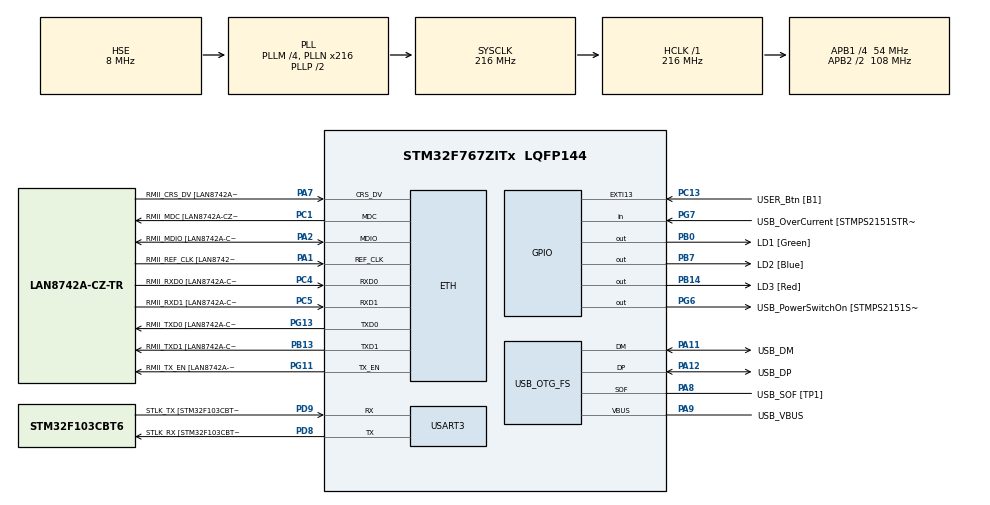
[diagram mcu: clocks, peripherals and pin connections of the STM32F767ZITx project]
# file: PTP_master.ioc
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Dma.Request0=USART3_RX
Dma.Request1=USART3_TX
Dma.USART3_RX.0.Direction=DMA_PERIPH_TO_MEMORY
Dma.USART3_RX.0.FIFOMode=DMA_FIFOMODE_DISABLE
Dma.USART3_RX.0.Instance=DMA1_Stream1
Dma.USART3_RX.0.MemDataAlignment=DMA_MDATAALIGN_BYTE
Dma.USART3_RX.0.MemInc=DMA_MINC_ENABLE
Dma.USART3_RX.0.Mode=DMA_NORMAL
Dma.USART3_RX.0.PeriphDataAlignment=DMA_PDATAALIGN_BYTE
Dma.USART3_RX.0.PeriphInc=DMA_PINC_DISABLE
Dma.USART3_RX.0.Priority=DMA_PRIORITY_LOW
Dma.USART3_TX.1.Direction=DMA_MEMORY_TO_PERIPH
Dma.USART3_TX.1.FIFOMode=DMA_FIFOMODE_DISABLE
Dma.USART3_TX.1.Instance=DMA1_Stream3
Dma.USART3_TX.1.MemDataAlignment=DMA_MDATAALIGN_BYTE
Dma.USART3_TX.1.MemInc=DMA_MINC_ENABLE
Dma.USART3_TX.1.Mode=DMA_NORMAL
Dma.USART3_TX.1.PeriphDataAlignment=DMA_PDATAALIGN_BYTE
Dma.USART3_TX.1.PeriphInc=DMA_PINC_DISABLE
Dma.USART3_TX.1.Priority=DMA_PRIORITY_LOW
ETH.ETH_TX_DESC_CNT=8
ETH.MACAddr=00\:80\:E1\:00\:00\:01
ETH.MediaInterface=HAL_ETH_RMII_MODE
ETH.RxMode=ETH_RXINTERRUPT_MODE
Mcu.Family=STM32F7
Mcu.Name=STM32F767ZITx
Mcu.Package=LQFP144
NVIC.DMA1_Stream1_IRQn=true\:0\:0\:false\:false\:true\:false\:true\:true
NVIC.DMA1_Stream3_IRQn=true\:0\:0\:false\:false\:true\:false\:true\:true
NVIC.ETH_IRQn=true\:0\:0\:false\:false\:true\:true\:true\:true
NVIC.PriorityGroup=NVIC_PRIORITYGROUP_4
PA1.GPIO_Label=RMII_REF_CLK [LAN8742A-CZ-TR_REFCLK0]
PA1.Mode=RMII
PA1.Signal=ETH_REF_CLK
PA10.GPIO_Label=USB_ID
PA10.Signal=USB_OTG_FS_ID
PA11.GPIO_Label=USB_DM
PA11.Mode=Device_Only
PA11.Signal=USB_OTG_FS_DM
PA12.GPIO_Label=USB_DP
PA12.Mode=Device_Only
PA12.Signal=USB_OTG_FS_DP
PA13.GPIO_Label=TMS
PA13.Mode=Serial_Wire
PA13.Signal=SYS_JTMS-SWDIO
PA14.GPIO_Label=TCK
PA14.Mode=Serial_Wire
PA14.Signal=SYS_JTCK-SWCLK
PA2.GPIO_Label=RMII_MDIO [LAN8742A-CZ-TR_MDIO]
PA2.Mode=RMII
PA2.Signal=ETH_MDIO
PA7.GPIO_Label=RMII_CRS_DV [LAN8742A-CZ-TR_CRS_DV]
PA7.Mode=RMII
PA7.Signal=ETH_CRS_DV
PA8.GPIO_Label=USB_SOF [TP1]
PA8.Mode=Activate_SOF_FS
PA8.Signal=USB_OTG_FS_SOF
PA9.GPIO_Label=USB_VBUS
PA9.Mode=Activate_VBUS
PA9.Signal=USB_OTG_FS_VBUS
PB0.GPIO_Label=LD1 [Green]
PB0.PinState=GPIO_PIN_RESET
PB0.Signal=GPIO_Output
PB13.GPIO_Label=RMII_TXD1 [LAN8742A-CZ-TR_TXD1]
PB13.Mode=RMII
PB13.Signal=ETH_TXD1
PB14.GPIO_Label=LD3 [Red]
PB14.Signal=GPIO_Output
PB3.GPIO_Label=SWO
PB3.Signal=SYS_JTDO-SWO
PB5.Signal=ETH_PPS_OUT
PB7.GPIO_Label=LD2 [Blue]
PB7.Signal=GPIO_Output
PC1.GPIO_Label=RMII_MDC [LAN8742A-CZ-TR_MDC]
PC1.Mode=RMII
PC1.Signal=ETH_MDC
PC13.GPIO_Label=USER_Btn [B1]
PC13.Signal=GPXTI13
PC14/OSC32_IN.Mode=LSE-External-Oscillator
PC14/OSC32_IN.Signal=RCC_OSC32_IN
PC15/OSC32_OUT.Mode=LSE-External-Oscillator
PC15/OSC32_OUT.Signal=RCC_OSC32_OUT
PC4.GPIO_Label=RMII_RXD0 [LAN8742A-CZ-TR_RXD0]
PC4.Mode=RMII
PC4.Signal=ETH_RXD0
PC5.GPIO_Label=RMII_RXD1 [LAN8742A-CZ-TR_RXD1]
PC5.Mode=RMII
PC5.Signal=ETH_RXD1
PD8.GPIO_Label=STLK_RX [STM32F103CBT6_PA3]
PD8.Mode=Asynchronous
PD8.Signal=USART3_TX
PD9.GPIO_Label=STLK_TX [STM32F103CBT6_PA2]
PD9.Mode=Asynchronous
PD9.Signal=USART3_RX
PG11.GPIO_Label=RMII_TX_EN [LAN8742A-CZ-TR_TXEN]
PG11.Mode=RMII
PG11.Signal=ETH_TX_EN
PG13.GPIO_Label=RMII_TXD0 [LAN8742A-CZ-TR_TXD0]
PG13.Mode=RMII
PG13.Signal=ETH_TXD0
PG6.GPIO_Label=USB_PowerSwitchOn [STMPS2151STR_EN]
PG6.Signal=GPIO_Output
PG7.GPIO_Label=USB_OverCurrent [STMPS2151STR_FAULT]
PG7.Signal=GPIO_Input
PH0/OSC_IN.GPIO_Label=MCO [STM32F103CBT6_PA8]
PH0/OSC_IN.Mode=HSE-External-Clock-Source
PH0/OSC_IN.Signal=RCC_OSC_IN
PH1/OSC_OUT.Mode=HSE-External-Clock-Source
PH1/OSC_OUT.Signal=RCC_OSC_OUT
ProjectManager.HeapSize=0x200
ProjectManager.StackSize=0x400
ProjectManager.TargetToolchain=STM32CubeIDE
RCC.48MHZClocksFreq_Value=24000000
RCC.AHBFreq_Value=216000000
RCC.APB1CLKDivider=RCC_HCLK_DIV4
RCC.APB1Freq_Value=54000000
RCC.APB1TimFreq_Value=108000000
RCC.APB2CLKDivider=RCC_HCLK_DIV2
RCC.APB2Freq_Value=108000000
RCC.APB2TimFreq_Value=216000000
RCC.CortexFreq_Value=216000000
RCC.HCLKFreq_Value=216000000
RCC.HSE_VALUE=8000000
RCC.HSI_VALUE=16000000
RCC.PLLM=4
RCC.PLLMUL=RCC_PLL_MUL9
RCC.PLLN=216
RCC.PLLQ=9
RCC.PRESCALERUSB=RCC_USBCLKSOURCE_PLL_DIV1_5
RCC.SYSCLKFreq_VALUE=216000000
RCC.SYSCLKSource=RCC_SYSCLKSOURCE_PLLCLK
RCC.SYSCLKSourceVirtual=RCC_SYSCLKSOURCE_PLLCLK
RCC.USBFreq_Value=48000000
RCC.VCOOutputFreq_Value=432000000
USART3.VirtualMode-Asynchronous=VM_ASYNC
USB_OTG_FS.VirtualMode=Device_Only
board=NUCLEO-F767ZI

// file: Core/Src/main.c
/* USER CODE BEGIN Header */
/**
  ******************************************************************************
  * @file           : main.c MASTER
  * @brief          : Main program body
  ******************************************************************************
  * @attention
  *
  * Copyright (c) 2026 STMicroelectronics.
  * All rights reserved.
  *
  * This software is licensed under terms that can be found in the LICENSE file
  * in the root directory of this software component.
  * If no LICENSE file comes with this software, it is provided AS-IS.
  *
  ******************************************************************************
  */
/* USER CODE END Header */
#include "main.h"
#include "string.h"

/* USER CODE BEGIN PTD */
typedef struct
{
  uint16_t seq_id;
  uint32_t sec;
  uint32_t nsec;
  uint8_t  req_port_identity[10];
  uint8_t  dst_mac[6];
  uint8_t  pending;
} PTP_DelayReqEvent;
/* USER CODE END PTD */

/* USER CODE BEGIN PD */
#define PTP_SYNC                    0U
#define PTP_DELAY_REQ               1U
#define PTP_FOLLOW_UP               8U
#define PTP_DELAY_RESP              9U

#define ETH_RX_BUFFER_SIZE          1524U
#define PTP_WAIT_LOOP               1000000U
#define PTP_SYNC_PERIOD_MS          125U

#define PTP_HCLK_HZ                 216000000ULL
#define PTP_SUBSEC_INCREMENT_NS     5ULL
#define PTP_ENABLE_FINE_MODE        1U

#define PTP_NS_PER_SEC              1000000000ULL
#define PTP_SUBSEC_PER_SEC          0x80000000ULL

#define PTP_MASTER_START_SEC        1774800000UL
#define PTP_MASTER_START_NSEC       0UL

#define PTP_DELAYREQ_QUEUE_LEN          16U
#define PTP_DELAYRESP_TX_TIMEOUT_MS     10U
#define PTP_DELAYRESP_PER_LOOP_LIMIT     4U

#define APP_CPU_LOAD_ENABLE              0U

/*
 * Safe artificial CPU load.
 * This is NOT exact percent load.
 * It performs a bounded amount of dummy work every N milliseconds.
 *
 * Start with 100 or 200.
 * Then test 500, 1000, 2000, etc.
 */
#define APP_CPU_LOAD_PERIOD_MS           1U
#define APP_CPU_LOAD_WORK_ITERATIONS     1U

/* USER CODE END PD */

#if defined ( __ICCARM__ ) /*!< IAR Compiler */
#pragma location=0x2007c000
ETH_DMADescTypeDef  DMARxDscrTab[ETH_RX_DESC_CNT]; /* Ethernet Rx DMA Descriptors */
#pragma location=0x2007c0a0
ETH_DMADescTypeDef  DMATxDscrTab[ETH_TX_DESC_CNT]; /* Ethernet Tx DMA Descriptors */

#elif defined ( __CC_ARM )  /* MDK ARM Compiler */

__attribute__((at(0x2007c000))) ETH_DMADescTypeDef  DMARxDscrTab[ETH_RX_DESC_CNT]; /* Ethernet Rx DMA Descriptors */
__attribute__((at(0x2007c0a0))) ETH_DMADescTypeDef  DMATxDscrTab[ETH_TX_DESC_CNT]; /* Ethernet Tx DMA Descriptors */

#elif defined ( __GNUC__ ) /* GNU Compiler */

ETH_DMADescTypeDef DMARxDscrTab[ETH_RX_DESC_CNT] __attribute__((section(".RxDecripSection"))); /* Ethernet Rx DMA Descriptors */
ETH_DMADescTypeDef DMATxDscrTab[ETH_TX_DESC_CNT] __attribute__((section(".TxDecripSection")));   /* Ethernet Tx DMA Descriptors */
#endif

ETH_TxPacketConfig TxConfig;

ETH_HandleTypeDef heth;

UART_HandleTypeDef huart3;
DMA_HandleTypeDef hdma_usart3_rx;
DMA_HandleTypeDef hdma_usart3_tx;

PCD_HandleTypeDef hpcd_USB_OTG_FS;

/* USER CODE BEGIN PV */
uint8_t Rx_Buff[ETH_RX_DESC_CNT][ETH_RX_BUFFER_SIZE];

uint8_t sync_frame[58];
uint8_t followup_frame[58];
uint8_t delayresp_frame[68];

volatile uint16_t master_sync_seq_id = 0U;

volatile uint16_t sync_tx_wait_seq_id = 0U;

volatile uint32_t sync_t1_sec = 0U;
volatile uint32_t sync_t1_nsec = 0U;
volatile uint8_t  sync_tx_ts_waiting = 0U;
volatile uint8_t  followup_pending = 0U;
volatile uint32_t last_sync_sent_ms = 0U;

volatile uint16_t followup_seq_id = 0U;
volatile uint32_t followup_t1_sec = 0U;
volatile uint32_t followup_t1_nsec = 0U;

volatile uint32_t delayreq_rx_count = 0U;
volatile uint32_t sync_tx_seen = 0U;
volatile uint32_t followup_tx_count = 0U;
volatile uint32_t delayresp_tx_count = 0U;
volatile uint32_t tx_ts_miss_count = 0U;

volatile uint32_t ptp_default_addend = 0U;
volatile uint32_t ptp_current_addend = 0U;
volatile uint32_t ptp_addend_update_count = 0U;
volatile uint32_t ptp_reg_timeout_count = 0U;

static PTP_DelayReqEvent g_delayreq_queue[PTP_DELAYREQ_QUEUE_LEN];

volatile uint32_t g_delayreq_q_head = 0U;
volatile uint32_t g_delayreq_q_tail = 0U;

volatile uint32_t delayreq_queue_push_count = 0U;
volatile uint32_t delayreq_queue_pop_count  = 0U;
volatile uint32_t delayreq_queue_drop_count = 0U;
volatile uint32_t delayresp_tx_fail_count   = 0U;

static const uint8_t g_master_mac[6] = {0x00, 0x80, 0xE1, 0x00, 0x00, 0x01};
static const uint8_t g_master_port_identity[10] =
{
  0x00, 0x80, 0xE1, 0xFF, 0xFE, 0x00, 0x00, 0x01, 0x00, 0x01
};

static const uint8_t g_ptp_multicast_mac[6] =
{
  0x01, 0x1B, 0x19, 0x00, 0x00, 0x00
};

static uint32_t sync_tx_desc_idx = 0U;

volatile uint32_t app_cpu_load_run_count = 0U;
volatile uint32_t app_cpu_load_sink = 0U;

static uint32_t app_cpu_load_last_ms = 0U;

/* USER CODE END PV */

void SystemClock_Config(void);
static void MX_GPIO_Init(void);
static void MX_DMA_Init(void);
static void MX_ETH_Init(void);
static void MX_USART3_UART_Init(void);
static void MX_USB_OTG_FS_PCD_Init(void);
/* USER CODE BEGIN PFP */
static uint8_t PTP_WaitRegBitClear(volatile uint32_t *reg, uint32_t mask, uint32_t timeout);
static uint32_t PTP_NsToSubsecUpdate(uint32_t ns);
static uint32_t PTP_CalcDefaultAddend(void);
static uint8_t PTP_LoadAddend(uint32_t addend);
static uint8_t PTP_MasterTimeInit(uint32_t sec_init, uint32_t nsec_init);
static void PTP_MasterHwInit(void);
static void PTP_MasterProcess(void);
static uint8_t PTP_MasterSendSync(void);
static uint8_t PTP_MasterTryReadSyncTxTimestamp(void);
static uint8_t PTP_MasterSendFollowUp(uint16_t seq_id, uint32_t sec_t1, uint32_t nsec_t1);
static uint8_t PTP_MasterSendDelayResp(const PTP_DelayReqEvent *evt);

static uint8_t PTP_DelayReqQueuePush(const PTP_DelayReqEvent *evt);
static uint8_t PTP_DelayReqQueuePeek(PTP_DelayReqEvent *evt);
static void    PTP_DelayReqQueueDropFront(void);
static uint8_t PTP_MasterSendFrameBlocking(uint8_t *frame, uint16_t length, uint32_t timeout_ms);
static void ETH_SetMacAddressFilter1(const uint8_t *mac);

static void APP_RunCpuLoad(void);

/* USER CODE END PFP */

/* USER CODE BEGIN 0 */

static void ETH_SetMacAddressFilter1(const uint8_t *mac)
{
  ETH->MACA1LR =
      ((uint32_t)mac[0])       |
      ((uint32_t)mac[1] << 8)  |
      ((uint32_t)mac[2] << 16) |
      ((uint32_t)mac[3] << 24);

  ETH->MACA1HR =
      ((uint32_t)mac[4])      |
      ((uint32_t)mac[5] << 8) |
      (1UL << 31);
}

static uint8_t PTP_WaitRegBitClear(volatile uint32_t *reg, uint32_t mask, uint32_t timeout)
{
  while (timeout--)
  {
    if (((*reg) & mask) == 0U)
    {
      return 1U;
    }
  }
  return 0U;
}

static uint8_t PTP_DelayReqQueuePush(const PTP_DelayReqEvent *evt)
{
  uint32_t head = g_delayreq_q_head;
  uint32_t next = head + 1U;

  if (next >= PTP_DELAYREQ_QUEUE_LEN)
  {
    next = 0U;
  }

  if (next == g_delayreq_q_tail)
  {
    delayreq_queue_drop_count++;
    return 0U;
  }

  g_delayreq_queue[head] = *evt;

  /*
   * Ensure event data is written before publishing new head.
   * CMSIS intrinsic is available on STM32 projects.
   */
  __DMB();

  g_delayreq_q_head = next;
  delayreq_queue_push_count++;

  return 1U;
}

static uint8_t PTP_DelayReqQueuePeek(PTP_DelayReqEvent *evt)
{
  uint32_t tail = g_delayreq_q_tail;

  if (tail == g_delayreq_q_head)
  {
    return 0U;
  }

  __DMB();

  *evt = g_delayreq_queue[tail];

  return 1U;
}

static void PTP_DelayReqQueueDropFront(void)
{
  uint32_t tail = g_delayreq_q_tail;

  if (tail == g_delayreq_q_head)
  {
    return;
  }

  tail++;

  if (tail >= PTP_DELAYREQ_QUEUE_LEN)
  {
    tail = 0U;
  }

  __DMB();

  g_delayreq_q_tail = tail;
  delayreq_queue_pop_count++;
}

static uint8_t PTP_MasterSendFrameBlocking(uint8_t *frame, uint16_t length, uint32_t timeout_ms)
{
  ETH_BufferTypeDef txBuffer;

  txBuffer.buffer = frame;
  txBuffer.len    = length;
  txBuffer.next   = NULL;

  TxConfig.Attributes   = ETH_TX_PACKETS_FEATURES_CRCPAD;
  TxConfig.ChecksumCtrl = ETH_CHECKSUM_DISABLE;
  TxConfig.CRCPadCtrl   = ETH_CRC_PAD_INSERT;
  TxConfig.Length       = length;
  TxConfig.TxBuffer     = &txBuffer;

  return (HAL_ETH_Transmit(&heth, &TxConfig, timeout_ms) == HAL_OK) ? 1U : 0U;
}

static uint32_t PTP_NsToSubsecUpdate(uint32_t ns)
{
  uint64_t v;

  if (ns >= 1000000000UL)
  {
    ns = 999999999UL;
  }

  v = ((uint64_t)ns * PTP_SUBSEC_PER_SEC + (PTP_NS_PER_SEC / 2ULL)) / PTP_NS_PER_SEC;

  if (v > 0x7FFFFFFFULL)
  {
    v = 0x7FFFFFFFULL;
  }

  return (uint32_t)v;
}

static uint32_t PTP_CalcDefaultAddend(void)
{
  const uint64_t num = (1ULL << 32) * 1000000000ULL;
  const uint64_t den = PTP_HCLK_HZ * PTP_SUBSEC_INCREMENT_NS;
  return (uint32_t)(num / den);
}

static uint8_t PTP_LoadAddend(uint32_t addend)
{
  if (!PTP_WaitRegBitClear(&ETH->PTPTSCR, ETH_PTPTSCR_TSARU, PTP_WAIT_LOOP))
  {
    ptp_reg_timeout_count++;
    return 0U;
  }

  ETH->PTPTSAR = addend;
  ETH->PTPTSCR |= ETH_PTPTSCR_TSARU;

  if (!PTP_WaitRegBitClear(&ETH->PTPTSCR, ETH_PTPTSCR_TSARU, PTP_WAIT_LOOP))
  {
    ptp_reg_timeout_count++;
    return 0U;
  }

  ptp_current_addend = addend;
  ptp_addend_update_count++;
  return 1U;
}

static uint8_t PTP_MasterTimeInit(uint32_t sec_init, uint32_t nsec_init)
{
  if (!PTP_WaitRegBitClear(&ETH->PTPTSCR, ETH_PTPTSCR_TSSTI | ETH_PTPTSCR_TSSTU, PTP_WAIT_LOOP))
  {
    ptp_reg_timeout_count++;
    return 0U;
  }

  ETH->PTPTSHUR = sec_init;
  ETH->PTPTSLUR = PTP_NsToSubsecUpdate(nsec_init);
  ETH->PTPTSCR |= ETH_PTPTSCR_TSSTI;

  if (!PTP_WaitRegBitClear(&ETH->PTPTSCR, ETH_PTPTSCR_TSSTI, PTP_WAIT_LOOP))
  {
    ptp_reg_timeout_count++;
    return 0U;
  }

  return 1U;
}

static void PTP_MasterHwInit(void)
{
  uint32_t ptptscr = 0U;

  ETH->DMABMR |= ETH_DMABMR_AAB;
  ETH->DMABMR |= ETH_DMABMR_EDE;

  //ETH->MACFFR |= ETH_MACFFR_RA | ETH_MACFFR_PM;
  ETH->MACFFR &= ~(ETH_MACFFR_RA | ETH_MACFFR_PM | ETH_MACFFR_PAM);
  ETH_SetMacAddressFilter1(g_ptp_multicast_mac);

  ETH->PTPSSIR = (uint32_t)PTP_SUBSEC_INCREMENT_NS;

  ptptscr |= ETH_PTPTSCR_TSE;
  ptptscr |= ETH_PTPTSCR_TSPTPPSV2E;
  ptptscr |= ETH_PTPTSCR_TSSPTPOEFE;
  ptptscr |= ETH_PTPTSCR_TSSEME;
  ptptscr |= ETH_PTPTSCR_TSSSR;
  ptptscr |= ETH_PTPTSCR_TSSARFE;
#if PTP_ENABLE_FINE_MODE
  ptptscr |= ETH_PTPTSCR_TSFCU;
#endif
  ETH->PTPTSCR = ptptscr;

  ptp_default_addend = PTP_CalcDefaultAddend();
  ptp_current_addend = ptp_default_addend;
#if PTP_ENABLE_FINE_MODE
  (void)PTP_LoadAddend(ptp_default_addend);
#endif

  (void)PTP_MasterTimeInit(PTP_MASTER_START_SEC, PTP_MASTER_START_NSEC);
}

static void PTP_StoreTimestampField(uint8_t *dst, uint32_t sec_v, uint32_t nsec_v)
{
  dst[0] = 0x00;
  dst[1] = 0x00;
  dst[2] = (uint8_t)(sec_v >> 24);
  dst[3] = (uint8_t)(sec_v >> 16);
  dst[4] = (uint8_t)(sec_v >> 8);
  dst[5] = (uint8_t)(sec_v);
  dst[6] = (uint8_t)(nsec_v >> 24);
  dst[7] = (uint8_t)(nsec_v >> 16);
  dst[8] = (uint8_t)(nsec_v >> 8);
  dst[9] = (uint8_t)(nsec_v);
}

static void PTP_FillL2Header(uint8_t *frame, const uint8_t *dst_mac, const uint8_t *src_mac)
{
  memcpy(&frame[0], dst_mac, 6U);
  memcpy(&frame[6], src_mac, 6U);
  frame[12] = 0x88;
  frame[13] = 0xF7;
}

static void PTP_BuildCommonHeader(uint8_t *frame, uint8_t msg_type, uint16_t message_length,
                                  uint16_t seq_id, uint8_t control_field, uint8_t log_interval,
                                  uint8_t two_step)
{
  frame[14] = (uint8_t)(msg_type & 0x0FU);
  frame[15] = 0x02;

  frame[16] = (uint8_t)(message_length >> 8);
  frame[17] = (uint8_t)(message_length);

  frame[18] = 0x00;
  frame[19] = 0x00;

  frame[20] = (two_step != 0U) ? 0x02U : 0x00U;
  frame[21] = 0x00U;

  memcpy(&frame[34], g_master_port_identity, 10U);

  frame[44] = (uint8_t)(seq_id >> 8);
  frame[45] = (uint8_t)(seq_id);
  frame[46] = control_field;
  frame[47] = log_interval;
}

static void PTP_BuildSyncFrame(uint8_t *frame, uint16_t seq_id)
{
  static const uint8_t ptp_multicast[6] = {0x01, 0x1B, 0x19, 0x00, 0x00, 0x00};

  memset(frame, 0, 58U);
  PTP_FillL2Header(frame, ptp_multicast, g_master_mac);
  PTP_BuildCommonHeader(frame, PTP_SYNC, 44U, seq_id, 0x00U, 0x00U, 1U);
}

static void PTP_BuildFollowUpFrame(uint8_t *frame, uint16_t seq_id, uint32_t sec_t1, uint32_t nsec_t1)
{
  static const uint8_t ptp_multicast[6] = {0x01, 0x1B, 0x19, 0x00, 0x00, 0x00};

  memset(frame, 0, 58U);
  PTP_FillL2Header(frame, ptp_multicast, g_master_mac);
  PTP_BuildCommonHeader(frame, PTP_FOLLOW_UP, 44U, seq_id, 0x02U, 0x00U, 0U);
  PTP_StoreTimestampField(&frame[48], sec_t1, nsec_t1);
}

static void PTP_BuildDelayRespFrame(uint8_t *frame, const PTP_DelayReqEvent *evt)
{
  memset(frame, 0, 68U);
  PTP_FillL2Header(frame, evt->dst_mac, g_master_mac);
  PTP_BuildCommonHeader(frame, PTP_DELAY_RESP, 54U, evt->seq_id, 0x03U, 0x7FU, 0U);
  PTP_StoreTimestampField(&frame[48], evt->sec, evt->nsec);
  memcpy(&frame[58], evt->req_port_identity, 10U);
}

static uint8_t PTP_MasterSendFrame(uint8_t *frame, uint16_t length)
{
  ETH_BufferTypeDef txBuffer;

  txBuffer.buffer = frame;
  txBuffer.len    = length;
  txBuffer.next   = NULL;

  TxConfig.Attributes   = ETH_TX_PACKETS_FEATURES_CRCPAD;
  TxConfig.ChecksumCtrl = ETH_CHECKSUM_DISABLE;
  TxConfig.CRCPadCtrl   = ETH_CRC_PAD_INSERT;
  TxConfig.Length       = length;
  TxConfig.TxBuffer     = &txBuffer;

  return (HAL_ETH_Transmit_IT(&heth, &TxConfig) == HAL_OK) ? 1U : 0U;
}

static uint8_t PTP_MasterSendSync(void)
{
  ETH_DMADescTypeDef *txdesc;
  uint32_t *td;
  uint16_t seq_id;

  seq_id = (uint16_t)(++master_sync_seq_id);
  PTP_BuildSyncFrame(sync_frame, seq_id);

  sync_tx_wait_seq_id = seq_id;

  sync_tx_desc_idx = heth.TxDescList.CurTxDesc;
  txdesc = (ETH_DMADescTypeDef *)heth.TxDescList.TxDesc[sync_tx_desc_idx];
  td = (uint32_t *)txdesc;
  td[0] |= (1UL << 25);

  if (PTP_MasterSendFrame(sync_frame, sizeof(sync_frame)) != 0U)
  {
    sync_tx_ts_waiting = 1U;
    followup_pending   = 0U;
    last_sync_sent_ms  = HAL_GetTick();
    return 1U;
  }

  return 0U;
}

static uint8_t PTP_MasterTryReadSyncTxTimestamp(void)
{
  ETH_DMADescTypeDef *txdesc;
  uint32_t *td;

  if (sync_tx_ts_waiting == 0U)
  {
    return 0U;
  }

  txdesc = (ETH_DMADescTypeDef *)heth.TxDescList.TxDesc[sync_tx_desc_idx];
  td = (uint32_t *)txdesc;

  if ((td[0] & (1UL << 31)) == 0U)
  {
    if ((td[0] & (1UL << 17)) != 0U)
    {
      sync_t1_nsec = td[6];
      sync_t1_sec  = td[7];
      sync_tx_seen++;
      sync_tx_ts_waiting = 0U;

      followup_seq_id  = sync_tx_wait_seq_id;
      followup_t1_sec  = sync_t1_sec;
      followup_t1_nsec = sync_t1_nsec;
      followup_pending = 1U;

      sync_tx_wait_seq_id = 0U;

      return 1U;
    }

    tx_ts_miss_count++;
    sync_tx_ts_waiting = 0U;

    sync_tx_wait_seq_id = 0U;
  }

  return 0U;
}

static uint8_t PTP_MasterSendFollowUp(uint16_t seq_id, uint32_t sec_t1, uint32_t nsec_t1)
{
  PTP_BuildFollowUpFrame(followup_frame, seq_id, sec_t1, nsec_t1);

  if (PTP_MasterSendFrame(followup_frame, sizeof(followup_frame)) != 0U)
  {
    followup_tx_count++;
    followup_pending = 0U;
    return 1U;
  }

  return 0U;
}

static uint8_t PTP_MasterSendDelayResp(const PTP_DelayReqEvent *evt)
{
  PTP_BuildDelayRespFrame(delayresp_frame, evt);

  if (PTP_MasterSendFrameBlocking(delayresp_frame,
                                  sizeof(delayresp_frame),
                                  PTP_DELAYRESP_TX_TIMEOUT_MS) != 0U)
  {
    delayresp_tx_count++;
    return 1U;
  }

  delayresp_tx_fail_count++;
  return 0U;
}

static void PTP_MasterHandlePtpRx(ETH_HandleTypeDef *heth_ptr, uint8_t *buf)
{
  uint16_t ptp_message;
  uint16_t ptp_seq_id;
  uint32_t idx;
  ETH_DMADescTypeDef *desc;
  uint32_t *d;

  ptp_message = (uint8_t)(buf[14] & 0x0FU);
  ptp_seq_id  = (uint16_t)(((uint16_t)buf[44] << 8) | buf[45]);

  idx = heth_ptr->RxDescList.RxDescIdx;
  idx = (idx == 0U) ? (ETH_RX_DESC_CNT - 1U) : (idx - 1U);

  desc = (ETH_DMADescTypeDef *)heth_ptr->RxDescList.RxDesc[idx];
  d = (uint32_t *)desc;

  if (ptp_message == PTP_DELAY_REQ)
  {
    PTP_DelayReqEvent evt;

    memset(&evt, 0, sizeof(evt));

    delayreq_rx_count++;

    evt.seq_id = ptp_seq_id;
    memcpy(evt.req_port_identity, &buf[34], 10U);
    memcpy(evt.dst_mac, &buf[6], 6U);

    /*
     * On this setup, d[6]/d[7] carry the valid RX timestamp for Delay_Req.
     */
    if ((d[6] != 0U) || (d[7] != 0U))
    {
      evt.nsec = d[6];
      evt.sec  = d[7];
    }
    else
    {
      evt.sec  = ETH->PTPTSHR;
      evt.nsec = ETH->PTPTSLR;
    }

    evt.pending = 1U;

    (void)PTP_DelayReqQueuePush(&evt);

    HAL_GPIO_TogglePin(LD2_GPIO_Port, LD2_Pin);
  }
}

static void PTP_MasterProcess(void)
{
  (void)PTP_MasterTryReadSyncTxTimestamp();

  if (followup_pending != 0U)
  {
    (void)PTP_MasterSendFollowUp(followup_seq_id, followup_t1_sec, followup_t1_nsec);
  }

  {
    uint8_t resp_limit = PTP_DELAYRESP_PER_LOOP_LIMIT;

    while (resp_limit-- != 0U)
    {
      PTP_DelayReqEvent evt;

      if (PTP_DelayReqQueuePeek(&evt) == 0U)
      {
        break;
      }

      if (PTP_MasterSendDelayResp(&evt) != 0U)
      {
        PTP_DelayReqQueueDropFront();
      }
      else
      {
        break;
      }
    }
  }

  if ((sync_tx_ts_waiting == 0U) && (followup_pending == 0U))
  {
    if ((HAL_GetTick() - last_sync_sent_ms) >= PTP_SYNC_PERIOD_MS)
    {
      (void)PTP_MasterSendSync();
    }
  }

  HAL_ETH_ReleaseTxPacket(&heth);
}

void HAL_ETH_RxAllocateCallback(uint8_t **buff)
{
  static uint32_t idx = 0U;

  *buff = Rx_Buff[idx];
  idx++;

  if (idx >= ETH_RX_DESC_CNT)
  {
    idx = 0U;
  }
}

void HAL_ETH_RxLinkCallback(void **pStart, void **pEnd, uint8_t *buff, uint16_t len)
{
  (void)len;

  if (*pStart == NULL)
  {
    *pStart = buff;
  }
  else
  {
    *(uint8_t **)(*pEnd) = buff;
  }

  *pEnd = buff;
}

void HAL_ETH_TxFreeCallback(uint32_t *buff)
{
  (void)buff;
}

void HAL_ETH_RxCpltCallback(ETH_HandleTypeDef *heth_ptr)
{
  while (1)
  {
    uint8_t *buf = NULL;

    if (HAL_ETH_ReadData(heth_ptr, (void **)&buf) != HAL_OK)
    {
      break;
    }

    if (buf == NULL)
    {
      break;
    }

    {
      uint16_t eth_type = (uint16_t)(((uint16_t)buf[12] << 8) | buf[13]);

      if (eth_type == 0x88F7U)
      {
        PTP_MasterHandlePtpRx(heth_ptr, buf);
      }
    }
  }
}

static void APP_RunCpuLoad(void)
{
#if APP_CPU_LOAD_ENABLE
    uint32_t now;
    uint32_t i;
    uint32_t x;

    now = HAL_GetTick();

    if ((uint32_t)(now - app_cpu_load_last_ms) < APP_CPU_LOAD_PERIOD_MS)
    {
        return;
    }

    app_cpu_load_last_ms = now;

    /*
     * Bounded dummy CPU work.
     * No DWT.
     * No infinite waiting.
     * Interrupts remain enabled.
     */
    x = app_cpu_load_sink;

    for (i = 0U; i < APP_CPU_LOAD_WORK_ITERATIONS; i++)
    {
        x = x * 1664525UL + 1013904223UL;
        x ^= (x >> 16);
        x += i;
    }

    app_cpu_load_sink = x;

    if (app_cpu_load_run_count < 0xFFFFFFFFUL)
    {
        app_cpu_load_run_count++;
    }
#endif
}

/* USER CODE END 0 */

int main(void)
{

  /* MCU Configuration--------------------------------------------------------*/

  /* Reset of all peripherals, Initializes the Flash interface and the Systick. */
  HAL_Init();

  /* Configure the system clock */
  SystemClock_Config();

  /* Initialize all configured peripherals */
  MX_GPIO_Init();
  MX_DMA_Init();
  MX_ETH_Init();
  MX_USART3_UART_Init();
  MX_USB_OTG_FS_PCD_Init();
  /* USER CODE BEGIN 2 */
  HAL_ETH_RegisterRxAllocateCallback(&heth, HAL_ETH_RxAllocateCallback);
    HAL_ETH_RegisterRxLinkCallback(&heth, HAL_ETH_RxLinkCallback);
    HAL_ETH_RegisterTxFreeCallback(&heth, HAL_ETH_TxFreeCallback);

    HAL_NVIC_EnableIRQ(ETH_IRQn);

    PTP_MasterHwInit();

    ETH->PTPPPSCR = 0x0U;   /* PPS = 1 Hz */

    if (HAL_ETH_Start_IT(&heth) != HAL_OK)
    {
      Error_Handler();
    }

    __HAL_ETH_DMA_ENABLE_IT(&heth, ETH_DMA_IT_T);

    last_sync_sent_ms = HAL_GetTick() - PTP_SYNC_PERIOD_MS;

  /* USER CODE END 2 */

  /* Infinite loop */
  while (1)
  {

    /* USER CODE BEGIN 3 */
	  PTP_MasterProcess();

	  APP_RunCpuLoad();

  }
  /* USER CODE END 3 */
}

void SystemClock_Config(void)
{
  RCC_OscInitTypeDef RCC_OscInitStruct = {0};
  RCC_ClkInitTypeDef RCC_ClkInitStruct = {0};

  /** Configure LSE Drive Capability
  */
  HAL_PWR_EnableBkUpAccess();

  /** Configure the main internal regulator output voltage
  */
  __HAL_RCC_PWR_CLK_ENABLE();
  __HAL_PWR_VOLTAGESCALING_CONFIG(PWR_REGULATOR_VOLTAGE_SCALE1);

  /** Initializes the RCC Oscillators according to the specified parameters
  * in the RCC_OscInitTypeDef structure.
  */
  RCC_OscInitStruct.OscillatorType = RCC_OSCILLATORTYPE_HSE;
  RCC_OscInitStruct.HSEState = RCC_HSE_BYPASS;
  RCC_OscInitStruct.PLL.PLLState = RCC_PLL_ON;
  RCC_OscInitStruct.PLL.PLLSource = RCC_PLLSOURCE_HSE;
  RCC_OscInitStruct.PLL.PLLM = 4;
  RCC_OscInitStruct.PLL.PLLN = 216;
  RCC_OscInitStruct.PLL.PLLP = RCC_PLLP_DIV2;
  RCC_OscInitStruct.PLL.PLLQ = 9;
  RCC_OscInitStruct.PLL.PLLR = 2;
  if (HAL_RCC_OscConfig(&RCC_OscInitStruct) != HAL_OK)
  {
    Error_Handler();
  }

  /** Activate the Over-Drive mode
  */
  if (HAL_PWREx_EnableOverDrive() != HAL_OK)
  {
    Error_Handler();
  }

  /** Initializes the CPU, AHB and APB buses clocks
  */
  RCC_ClkInitStruct.ClockType = RCC_CLOCKTYPE_HCLK|RCC_CLOCKTYPE_SYSCLK
                              |RCC_CLOCKTYPE_PCLK1|RCC_CLOCKTYPE_PCLK2;
  RCC_ClkInitStruct.SYSCLKSource = RCC_SYSCLKSOURCE_PLLCLK;
  RCC_ClkInitStruct.AHBCLKDivider = RCC_SYSCLK_DIV1;
  RCC_ClkInitStruct.APB1CLKDivider = RCC_HCLK_DIV4;
  RCC_ClkInitStruct.APB2CLKDivider = RCC_HCLK_DIV2;

  if (HAL_RCC_ClockConfig(&RCC_ClkInitStruct, FLASH_LATENCY_7) != HAL_OK)
  {
    Error_Handler();
  }
}

static void MX_ETH_Init(void)
{

   static uint8_t MACAddr[6];

  heth.Instance = ETH;
  MACAddr[0] = 0x00;
  MACAddr[1] = 0x80;
  MACAddr[2] = 0xE1;
  MACAddr[3] = 0x00;
  MACAddr[4] = 0x00;
  MACAddr[5] = 0x01;
  heth.Init.MACAddr = &MACAddr[0];
  heth.Init.MediaInterface = HAL_ETH_RMII_MODE;
  heth.Init.TxDesc = DMATxDscrTab;
  heth.Init.RxDesc = DMARxDscrTab;
  heth.Init.RxBuffLen = 1524;

  if (HAL_ETH_Init(&heth) != HAL_OK)
  {
    Error_Handler();
  }

  memset(&TxConfig, 0 , sizeof(ETH_TxPacketConfig));
  TxConfig.Attributes = ETH_TX_PACKETS_FEATURES_CSUM | ETH_TX_PACKETS_FEATURES_CRCPAD;
  TxConfig.ChecksumCtrl = ETH_CHECKSUM_IPHDR_PAYLOAD_INSERT_PHDR_CALC;
  TxConfig.CRCPadCtrl = ETH_CRC_PAD_INSERT;

}

static void MX_USART3_UART_Init(void)
{

  huart3.Instance = USART3;
  huart3.Init.BaudRate = 115200;
  huart3.Init.WordLength = UART_WORDLENGTH_8B;
  huart3.Init.StopBits = UART_STOPBITS_1;
  huart3.Init.Parity = UART_PARITY_NONE;
  huart3.Init.Mode = UART_MODE_TX_RX;
  huart3.Init.HwFlowCtl = UART_HWCONTROL_NONE;
  huart3.Init.OverSampling = UART_OVERSAMPLING_16;
  huart3.Init.OneBitSampling = UART_ONE_BIT_SAMPLE_DISABLE;
  huart3.AdvancedInit.AdvFeatureInit = UART_ADVFEATURE_NO_INIT;
  if (HAL_UART_Init(&huart3) != HAL_OK)
  {
    Error_Handler();
  }

}

static void MX_USB_OTG_FS_PCD_Init(void)
{

  hpcd_USB_OTG_FS.Instance = USB_OTG_FS;
  hpcd_USB_OTG_FS.Init.dev_endpoints = 6;
  hpcd_USB_OTG_FS.Init.speed = PCD_SPEED_FULL;
  hpcd_USB_OTG_FS.Init.dma_enable = DISABLE;
  hpcd_USB_OTG_FS.Init.phy_itface = PCD_PHY_EMBEDDED;
  hpcd_USB_OTG_FS.Init.Sof_enable = ENABLE;
  hpcd_USB_OTG_FS.Init.low_power_enable = DISABLE;
  hpcd_USB_OTG_FS.Init.lpm_enable = DISABLE;
  hpcd_USB_OTG_FS.Init.vbus_sensing_enable = ENABLE;
  hpcd_USB_OTG_FS.Init.use_dedicated_ep1 = DISABLE;
  if (HAL_PCD_Init(&hpcd_USB_OTG_FS) != HAL_OK)
  {
    Error_Handler();
  }

}

static void MX_DMA_Init(void)
{

  /* DMA controller clock enable */
  __HAL_RCC_DMA1_CLK_ENABLE();

  /* DMA interrupt init */
  /* DMA1_Stream1_IRQn interrupt configuration */
  HAL_NVIC_SetPriority(DMA1_Stream1_IRQn, 0, 0);
  HAL_NVIC_EnableIRQ(DMA1_Stream1_IRQn);
  /* DMA1_Stream3_IRQn interrupt configuration */
  HAL_NVIC_SetPriority(DMA1_Stream3_IRQn, 0, 0);
  HAL_NVIC_EnableIRQ(DMA1_Stream3_IRQn);

}

static void MX_GPIO_Init(void)
{
  GPIO_InitTypeDef GPIO_InitStruct = {0};

  /* GPIO Ports Clock Enable */
  __HAL_RCC_GPIOC_CLK_ENABLE();
  __HAL_RCC_GPIOH_CLK_ENABLE();
  __HAL_RCC_GPIOA_CLK_ENABLE();
  __HAL_RCC_GPIOB_CLK_ENABLE();
  __HAL_RCC_GPIOD_CLK_ENABLE();
  __HAL_RCC_GPIOG_CLK_ENABLE();

  /*Configure GPIO pin Output Level */
  HAL_GPIO_WritePin(GPIOB, LD1_Pin|LD3_Pin|LD2_Pin, GPIO_PIN_RESET);

  /*Configure GPIO pin Output Level */
  HAL_GPIO_WritePin(USB_PowerSwitchOn_GPIO_Port, USB_PowerSwitchOn_Pin, GPIO_PIN_RESET);

  /*Configure GPIO pin : USER_Btn_Pin */
  GPIO_InitStruct.Pin = USER_Btn_Pin;
  GPIO_InitStruct.Mode = GPIO_MODE_IT_RISING;
  GPIO_InitStruct.Pull = GPIO_NOPULL;
  HAL_GPIO_Init(USER_Btn_GPIO_Port, &GPIO_InitStruct);

  /*Configure GPIO pins : LD1_Pin LD3_Pin LD2_Pin */
  GPIO_InitStruct.Pin = LD1_Pin|LD3_Pin|LD2_Pin;
  GPIO_InitStruct.Mode = GPIO_MODE_OUTPUT_PP;
  GPIO_InitStruct.Pull = GPIO_NOPULL;
  GPIO_InitStruct.Speed = GPIO_SPEED_FREQ_LOW;
  HAL_GPIO_Init(GPIOB, &GPIO_InitStruct);

  /*Configure GPIO pin : USB_PowerSwitchOn_Pin */
  GPIO_InitStruct.Pin = USB_PowerSwitchOn_Pin;
  GPIO_InitStruct.Mode = GPIO_MODE_OUTPUT_PP;
  GPIO_InitStruct.Pull = GPIO_NOPULL;
  GPIO_InitStruct.Speed = GPIO_SPEED_FREQ_LOW;
  HAL_GPIO_Init(USB_PowerSwitchOn_GPIO_Port, &GPIO_InitStruct);

  /*Configure GPIO pin : USB_OverCurrent_Pin */
  GPIO_InitStruct.Pin = USB_OverCurrent_Pin;
  GPIO_InitStruct.Mode = GPIO_MODE_INPUT;
  GPIO_InitStruct.Pull = GPIO_NOPULL;
  HAL_GPIO_Init(USB_OverCurrent_GPIO_Port, &GPIO_InitStruct);

}

void Error_Handler(void)
{
  __disable_irq();
  while (1)
  {
  }
}
